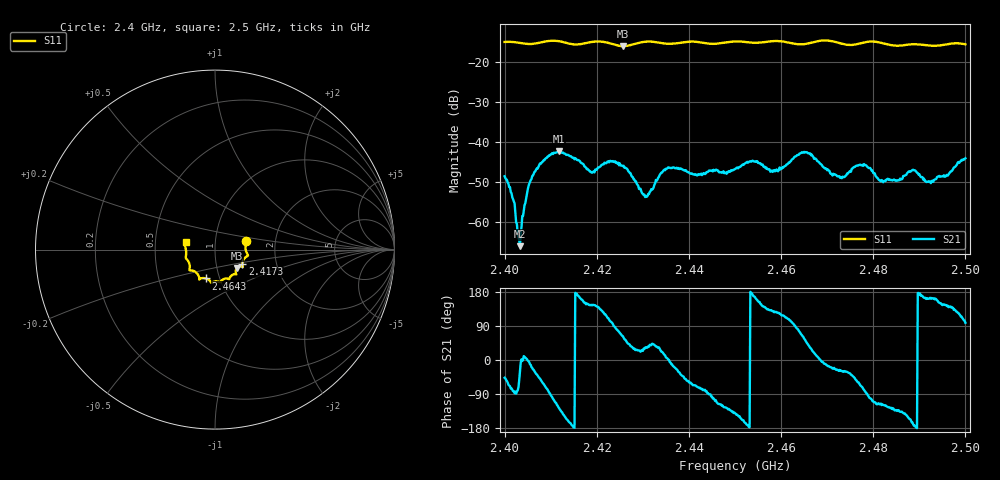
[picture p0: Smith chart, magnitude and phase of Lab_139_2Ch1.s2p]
# Hz S RI R
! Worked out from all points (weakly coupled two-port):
!   601 points, 2.4 GHz to 2.5 GHz, reference 50 ohm
!   highest |S21| = -42.34 dB at 2.4118 GHz (marker M1); lowest = -66.1 dB at 2.4033 GHz (marker M2)
!   lowest |S11| = -15.9 dB at 2.4257 GHz (marker M3), VSWR 1.38, Z = 62.4 - j13.1 ohm
!   |S11| at or under -10 dB: start of sweep to end of sweep
!   S12 and S22 are empty: the file has one direction only
!   S11 on the Smith chart (normalised r, x): 2.4 GHz: 1.41, +0.14; 2.4173 GHz: 1.34, -0.23; 2.4643 GHz: 0.86, -0.28; 2.5 GHz: 0.72, +0.06
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2.4e9  0.1736 0.0495  0.00255 -0.00272  0 0  0 0
2.401667e9  0.1753 0.043  0.000412 -0.00199  0 0  0 0
2.402833e9  0.174 0.0361  0.000118 -0.000709  0 0  0 0
2.403333e9  0.173 0.0318  0.000426 -0.000252  0 0  0 0
2.406e9  0.1705 0.000826  0.00353 -0.00133  0 0  0 0
2.411833e9  0.1807 -0.0362  -0.00464 -0.00607  0 0  0 0
2.416667e9  0.1528 -0.0745  -0.00512 0.00191  0 0  0 0
2.417333e9  0.1524 -0.0819  -0.00431 0.00242  0 0  0 0
2.425667e9  0.1225 -0.1024  0.0023 0.00444  0 0  0 0
2.4305e9  0.1187 -0.1372  0.00172 0.00111  0 0  0 0
2.433333e9  0.1129 -0.1367  0.00303 0.0019  0 0  0 0
2.436e9  0.0942 -0.1429  0.00468 -0.000541  0 0  0 0
2.45e9  0.0297 -0.181  -0.00354 -0.00294  0 0  0 0
2.459e9  -0.0217 -0.1841  -0.00271 0.00363  0 0  0 0
2.464333e9  -0.0501 -0.1606  0.00271 0.00678  0 0  0 0
2.466667e9  -0.0763 -0.16  0.0062 0.00317  0 0  0 0
2.472667e9  -0.0898 -0.1499  0.00335 -0.00165  0 0  0 0
2.477667e9  -0.1327 -0.1161  0.00158 -0.00494  0 0  0 0
2.483333e9  -0.1408 -0.0896  -0.00192 -0.00276  0 0  0 0
2.488667e9  -0.1619 -0.0477  -0.00443 -0.000785  0 0  0 0
2.492667e9  -0.1607 -0.0176  -0.0031 0.000908  0 0  0 0
2.5e9  -0.1634 0.0421  -0.000904 0.0062  0 0  0 0
